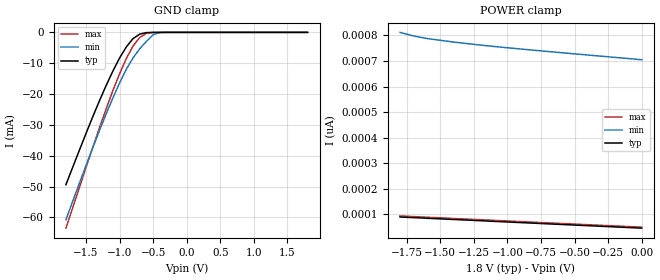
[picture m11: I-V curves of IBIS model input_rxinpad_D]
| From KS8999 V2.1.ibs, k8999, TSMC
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|   Model input_rxinpad_D
[Model]   input_rxinpad_D
Model_type   Input
Polarity   Non-Inverting
Vinl =   0.8V
Vinh =   2.0V
C_comp   7.59e-13F   8.69e-13F   7.86e-13F
[Temperature Range]   25   125   0
[Voltage Range]   1.80V   1.62V   1.98V
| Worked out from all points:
|   GND clamp passes 1 mA (typ) near -0.73 V on its own axis
[POWER_clamp]
| voltage   I(typ)   I(min)   I(max)
-1.8V     88.76pA    812.1pA    92.95pA
-1.7V     86.32pA    798.1pA    90.37pA
-1.6V     83.9pA     788pA      87.82pA
-1.4V     79pA       774.1pA    82.82pA
-1.3V     76.65pA    768pA      80.45pA
-1.1V     71.69pA    756.9pA    75.53pA
-900mV    66.82pA    746.8pA    70.68pA
0V        45.13pA    704.9pA    48.86pA
[GND_clamp]
| voltage   I(typ)   I(min)   I(max)
-1.8V     -49.39mA   -60.75mA   -63.46mA
-1.4V     -27.36mA   -37.41mA   -37.3mA
-1.2V     -17.19mA   -26.43mA   -24.77mA
-1.1V     -12.55mA   -21.25mA   -18.86mA
-1V       -8.298mA   -16.4mA    -13.41mA
-900mV    -4.728mA   -11.93mA   -8.484mA
-800mV    -2.012mA   -8.293mA   -4.427mA
-700mV    -554.4uA   -5.321mA   -1.623mA
-600mV    -83.86uA   -2.913mA   -312.4uA
-500mV    -8.7uA     -745.4uA   -30.78uA
-400mV    -631nA     -44.77uA   -1.916uA
1.8V      45.13pA    713.1pA    44.52pA
